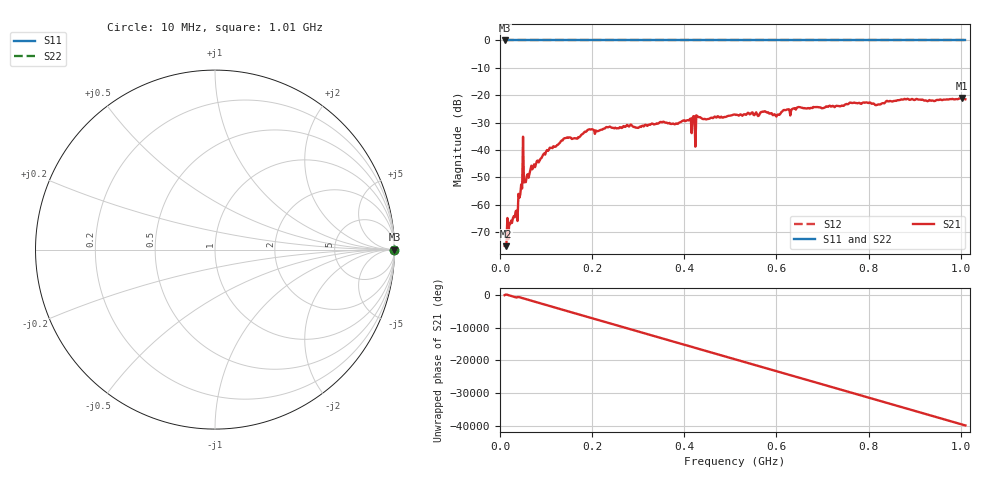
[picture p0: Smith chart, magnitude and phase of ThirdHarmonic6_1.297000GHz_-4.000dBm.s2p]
! 8/16/2025 2:14:03 PM
! C:\ANRITSUVNA\TEMP\TEMP.S2P
! CHANNEL.1
! TR.MEASUREMENT
! RAW.DATA
! RF.CORRECTION.OFF
! AVERAGING.OFF
! IF.BANDWIDTH: 5KHZ
! SWEEPTYPE:  FREQ.SWEEP(Linear)
! Reference Plane Port Info
! PORT:  PORT1  PORT2
! DISTANCE:  0  m  0  m
! TIME:  0  s  0  s
! PHASE.OFFSET:  0  deg.  0  deg.
! LOSS:  0  dB  0  dB
! REF.LOSS:  0  dB  0  dB
! REF.FREQ:  0  Hz  0  Hz
! Power Info
! POWER:  -20  dBm  -20  dBm
! EFF.POWER:  -20  dBm  -20  dBm
! SOURCE.ATTEN:  0  dB  0  dB
! TEST.ATTEN:  0  dB  0  dB
# GHZ S RI R 50.0
! FREQ.GHZ  S11RE  S11IM  S21RE  S21IM  S12RE  S12IM  S22RE  S22IM
!; PortSelection: Port_12
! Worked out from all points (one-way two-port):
!   501 points, 10 MHz to 1.01 GHz, reference 50 ohm
!   highest |S21| = -20.99 dB at 1.002 GHz (marker M1); lowest = -75.2 dB at 12 MHz (marker M2)
!   lowest |S11| = 0.0 dB at 10 MHz (marker M3)
!   |S11| at or under -10 dB: nowhere
!   |S22| runs from 0.0 to 0.0 dB; largest |S21 - S12| = 1.1
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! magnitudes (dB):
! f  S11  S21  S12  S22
! 10 MHz  0.0  -75.0  0.0  0.0
! 12 MHz  0.0  -75.2  0.0  0.0
! 20 MHz  0.0  -66.8  0.0  0.0
! 34 MHz  0.0  -62.4  0.0  0.0
! 42 MHz  0.0  -57.5  0.0  0.0
! 46 MHz  0.0  -52.6  0.0  0.0
! 54 MHz  0.0  -51.6  0.0  0.0
! 56 MHz  0.0  -51.8  0.0  0.0
! 104 MHz  0.0  -40.4  0.0  0.0
! 178 MHz  0.0  -34.3  0.0  0.0
! 344 MHz  0.0  -30.3  0.0  0.0
! 410 MHz  0.0  -29.2  0.0  0.0
! 418 MHz  0.0  -28.3  0.0  0.0
! 420 MHz  0.0  -27.7  0.0  0.0
! 428 MHz  0.0  -27.6  0.0  0.0
! 430 MHz  0.0  -28.0  0.0  0.0
! 510 MHz  0.0  -27.1  0.0  0.0
! 602 MHz  0.0  -27.2  0.0  0.0
! 678 MHz  0.0  -24.7  0.0  0.0
! 844 MHz  0.0  -22.3  0.0  0.0
! 1.002 GHz  0.0  -21.0  0.0  0.0
! 1.01 GHz  0.0  -21.5  0.0  0.0
